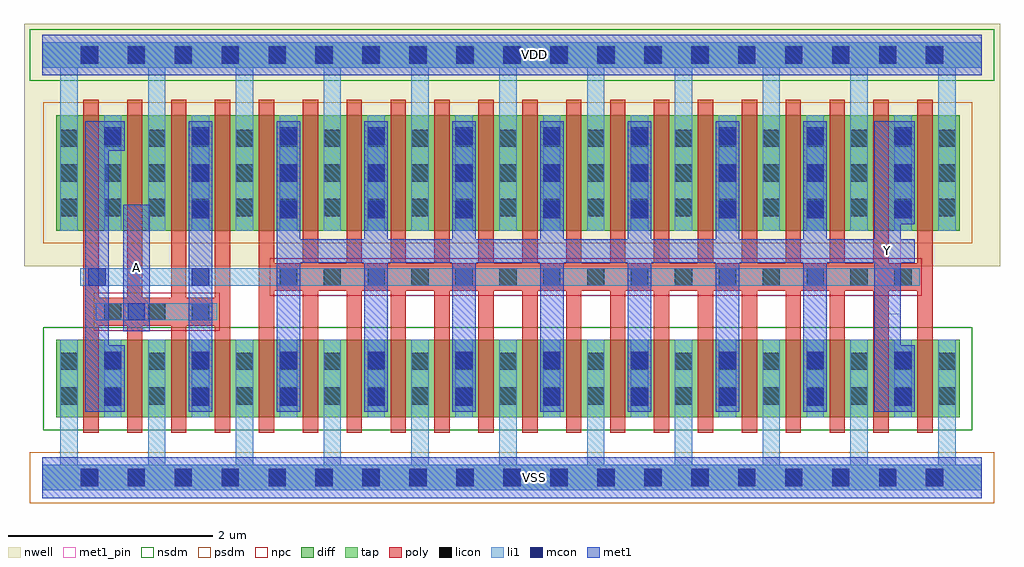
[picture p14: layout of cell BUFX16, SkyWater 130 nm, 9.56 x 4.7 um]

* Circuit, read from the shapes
.subckt BUFX16 A VDD VSS Y
XM1 n1 A VSS VSS sky130_fd_pr__nfet_01v8 w=0.76 l=0.15 m=4
XM2 Y n1 VSS VSS sky130_fd_pr__nfet_01v8 w=0.76 l=0.15 m=16
XM3 n1 A VDD VDD sky130_fd_pr__pfet_01v8 w=1.13 l=0.15 m=4
XM4 Y n1 VDD VDD sky130_fd_pr__pfet_01v8 w=1.13 l=0.15 m=16
.ends

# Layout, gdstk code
import gdstk
lib = gdstk.Library(unit=1e-6, precision=1e-09)
def R(c, l, rs):  # rectangles x0, y0, x1, y1
    for r in rs: c.add(gdstk.rectangle(r[:2], r[2:], *l))
def A(c, l, x, y, w, h, nx, ny, dx, dy):  # array of equal rectangles
    R(c, l, [(x+i*dx, y+j*dy, x+i*dx+w, y+j*dy+h) for i in range(nx) for j in range(ny)])
nwell = (64, 20)
diff = (65, 20)
tap = (65, 44)
poly = (66, 20)
licon = (66, 44)
li1 = (67, 20)
mcon = (67, 44)
met1_pin = (68, 16)
met1 = (68, 20)
nsdm = (93, 44)
psdm = (94, 20)
npc = (95, 20)

bufx16 = lib.new_cell('BUFX16')
R(bufx16, nwell, [(-0.18,2.07,9.38,4.445)])
R(bufx16, diff, [(0.135,0.59,8.985,1.35), (0.135,2.42,8.985,3.55)])
R(bufx16, tap, [(0,-0.125,9.2,0.125), (0,4.015,9.2,4.265)])
A(bufx16, poly, 0.4, 0.44, 0.15, 1.05, 4, 1, 0.43, 0)
A(bufx16, poly, 2.12, 0.44, 0.15, 1.39, 16, 1, 0.43, 0)
A(bufx16, poly, 0.4, 1.76, 0.15, 1.94, 4, 1, 0.43, 0)
A(bufx16, poly, 2.12, 2.1, 0.15, 1.6, 16, 1, 0.43, 0)
R(bufx16, poly, [(0.4,1.49,1.84,1.76), (2.12,1.83,8.72,2.1)])
A(bufx16, licon, 0.375, -0.085, 0.17, 0.17, 19, 2, 0.46, 4.14)
A(bufx16, licon, 0.175, 0.715, 0.17, 0.17, 21, 2, 0.43, 0.34)
A(bufx16, licon, 0.605, 1.54, 0.17, 0.17, 3, 1, 0.43, 0)
A(bufx16, licon, 2.325, 1.88, 0.17, 0.17, 15, 1, 0.43, 0)
A(bufx16, licon, 0.175, 2.56, 0.17, 0.17, 21, 3, 0.43, 0.34)
A(bufx16, li1, 0.175, 0.125, 0.17, 1.225, 11, 1, 0.86, 0)
A(bufx16, li1, 0.605, 0.59, 0.17, 0.76, 10, 1, 0.86, 0)
A(bufx16, li1, 0.175, 2.42, 0.17, 1.595, 11, 1, 0.86, 0)
A(bufx16, li1, 0.605, 2.42, 0.17, 1.13, 10, 1, 0.86, 0)
R(bufx16, li1, [(0,-0.125,9.2,0.125), (0.525,1.54,1.715,1.71), (0.37,1.88,8.595,2.05), (0,4.015,9.2,4.265)])
A(bufx16, mcon, 0.375, -0.085, 0.17, 0.17, 19, 2, 0.46, 4.14)
A(bufx16, mcon, 0.605, 0.705, 0.17, 0.17, 10, 2, 0.86, 0.36)
A(bufx16, mcon, 1.465, 2.54, 0.17, 0.17, 9, 2, 0.86, 0.36)
A(bufx16, mcon, 0.605, 3.26, 0.17, 0.17, 10, 1, 0.86, 0)
R(bufx16, mcon, [(0.835,1.54,1.005,1.71), (0.45,1.88,0.62,2.05), (1.465,1.88,1.635,2.05)])
R(bufx16, met1_pin, [(0.79,1.435,1.05,2.675), (8.15,1.6,8.41,2.84)])
A(bufx16, met1, 2.295, 0.645, 0.23, 1.46, 7, 1, 0.86, 0)
A(bufx16, met1, 2.295, 2.335, 0.23, 1.155, 7, 1, 0.86, 0)
R(bufx16, met1, [(0,-0.2,9.2,0.2), (0.42,0.645,0.805,1.295), (1.435,0.645,1.665,3.49), (8.15,0.645,8.545,1.295), (0.42,1.295,0.65,3.2), (8.15,1.295,8.41,2.105), (0.79,1.435,1.05,2.675), (2.295,2.105,8.545,2.335), (8.15,2.335,8.41,2.48), (8.15,2.48,8.545,3.49), (0.42,3.2,0.805,3.49), (0,3.94,9.2,4.34)])
R(bufx16, nsdm, [(0.01,0.465,9.11,1.475), (-0.125,3.89,9.325,4.39)])
R(bufx16, psdm, [(-0.125,-0.25,9.325,0.25), (0.01,2.295,9.11,3.675)])
R(bufx16, npc, [(0.505,1.44,1.735,1.81), (2.225,1.78,8.615,2.15)])
bufx16.add(gdstk.Label('VSS', (4.825,0.005), layer=68, texttype=5))
bufx16.add(gdstk.Label('VDD', (4.825,4.145), layer=68, texttype=5))
bufx16.add(gdstk.Label('A', (0.92,2.055), layer=68, texttype=5))
bufx16.add(gdstk.Label('Y', (8.28,2.22), layer=68, texttype=5))

lib.write_gds('BUFX16.gds')
